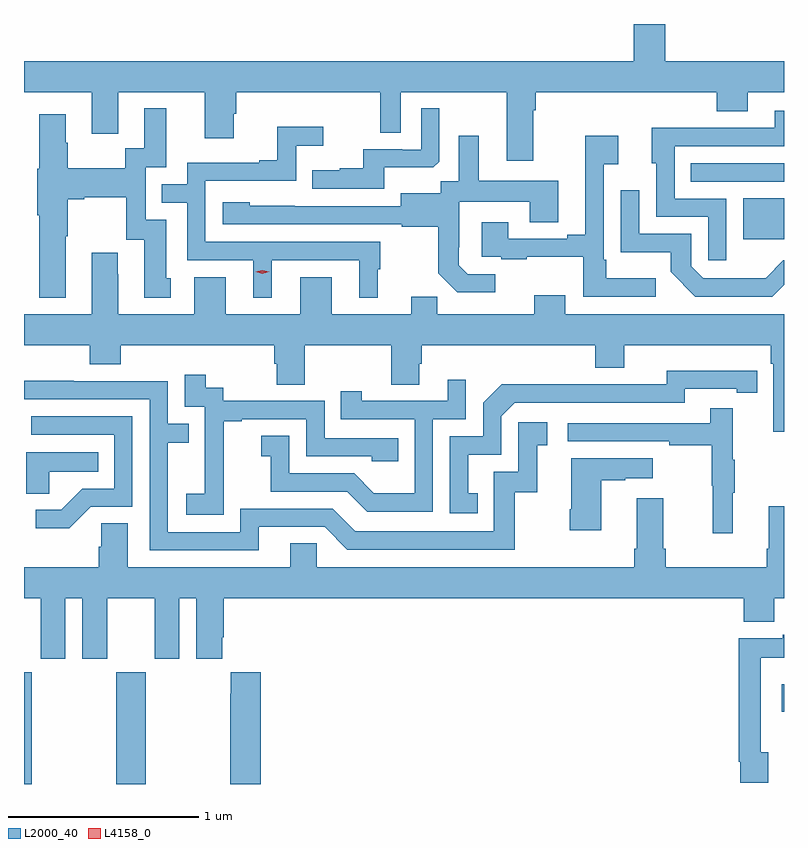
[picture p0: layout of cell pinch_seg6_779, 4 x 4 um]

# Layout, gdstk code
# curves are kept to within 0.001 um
import gdstk
lib = gdstk.Library(unit=1e-6, precision=1e-09)
def R(c, l, rs):  # rectangles x0, y0, x1, y1
    for r in rs: c.add(gdstk.rectangle(r[:2], r[2:], *l))
def P(c, l, *ps):  # polygons
    for p in ps: c.add(gdstk.Polygon(p, *l))
L2000_40 = (2000, 40)
L4158_0 = (4158, 0)

pinch_seg6_779 = lib.new_cell('pinch_seg6_779')
R(pinch_seg6_779, L2000_40, [(191.102,988.983,191.142,989.572), (191.587,988.983,191.742,989.572), (195.089,989.364,195.102,989.509), (194.888,991.85,195.102,992.065), (194.611,992.154,195.102,992.25)])
P(pinch_seg6_779, L2000_40, [(194.476,992.983),(194.312,992.983),(194.312,992.788),(191.102,992.788),(191.102,992.624),(191.459,992.624),(191.459,992.406),(191.599,992.406),(191.599,992.624),(192.053,992.624),(192.053,992.382),(192.205,992.382),(192.205,992.511),(192.218,992.511),(192.218,992.624),(192.978,992.624),(192.978,992.41),(193.086,992.41),(193.086,992.624),(193.643,992.624),(193.643,992.262),(193.783,992.262),(193.783,992.528),(193.796,992.528),(193.796,992.624),(194.747,992.624),(194.747,992.525),(194.911,992.525),(194.911,992.624),(195.102,992.624),(195.102,992.788),(194.476,992.788)],
  [(191.323,991.867),(191.331,991.867),(191.331,992.06),(191.419,992.06),(191.419,992.072),(191.639,992.072),(191.639,991.848),(191.735,991.848),(191.735,991.542),(191.875,991.542),(191.875,991.644),(191.851,991.644),(191.851,991.953),(191.742,991.953),(191.742,992.229),(191.851,992.229),(191.851,992.539),(191.735,992.539),(191.735,992.33),(191.634,992.33),(191.634,992.224),(191.331,992.224),(191.331,992.358),(191.323,992.358),(191.323,992.509),(191.183,992.509),(191.183,992.22),(191.171,992.22),(191.171,991.976),(191.183,991.976),(191.183,991.541),(191.323,991.541)],
  [(192.997,992.228),(193.255,992.228),(193.287,992.259),(193.287,992.539),(193.194,992.539),(193.194,992.322),(193.094,992.322),(193.094,992.325),(192.887,992.325),(192.887,992.224),(192.763,992.224),(192.763,992.212),(192.619,992.212),(192.619,992.115),(192.997,992.115)],
  [(194.799,992.064),(194.526,992.064),(194.526,992.34),(195.102,992.34),(195.102,992.527),(195.053,992.527),(195.053,992.436),(194.623,992.436),(194.623,992.438),(194.405,992.438),(194.405,992.25),(194.43,992.25),(194.43,991.968),(194.703,991.968),(194.703,991.74),(194.799,991.74)],
  [(192.406,991.74),(192.866,991.74),(192.866,991.541),(192.964,991.541),(192.964,991.692),(192.976,991.692),(192.976,991.836),(192.057,991.836),(192.057,992.157),(192.534,992.157),(192.534,992.342),(192.676,992.342),(192.676,992.441),(192.436,992.441),(192.436,992.266),(192.341,992.266),(192.341,992.253),(191.961,992.253),(191.961,992.139),(191.827,992.139),(191.827,992.043),(191.961,992.043),(191.961,991.74),(192.308,991.74),(192.308,991.541),(192.406,991.541)],
  [(193.582,991.665),(193.437,991.665),(193.39,991.712),(193.39,991.807),(193.392,991.807),(193.392,992.048),(193.763,992.048),(193.763,991.939),(193.915,991.939),(193.915,992.158),(193.495,992.158),(193.495,992.395),(193.391,992.395),(193.391,992.156),(193.296,992.156),(193.296,992.092),(193.085,992.092),(193.085,992.025),(192.291,992.026),(192.291,992.044),(192.147,992.044),(192.147,991.929),(193.089,991.929),(193.089,991.917),(193.281,991.917),(193.281,991.671),(193.381,991.571),(193.582,991.571)],
  [(194.428,991.645),(194.167,991.645),(194.167,991.741),(194.154,991.741),(194.154,992.246),(194.23,992.246),(194.23,992.395),(194.057,992.395),(194.057,991.873),(193.961,991.873),(193.961,991.854),(193.651,991.854),(193.651,991.939),(193.511,991.939),(193.511,991.758),(193.615,991.758),(193.615,991.746),(193.747,991.746),(193.747,991.757),(194.046,991.757),(194.046,991.548),(194.428,991.548)],
  [(195.102,991.611),(195.102,991.74),(195.099,991.74),(195.005,991.646),(194.9,991.646),(194.9,991.644),(194.676,991.644),(194.613,991.707),(194.613,991.878),(194.34,991.878),(194.34,992.107),(194.244,992.107),(194.244,991.781),(194.506,991.781),(194.506,991.679),(194.636,991.548),(195.039,991.548)],
  [(193.951,991.555),(193.787,991.555),(193.787,991.456),(193.277,991.456),(193.277,991.547),(193.139,991.547),(193.139,991.456),(192.721,991.456),(192.721,991.651),(192.557,991.651),(192.557,991.456),(192.163,991.456),(192.163,991.651),(191.999,991.651),(191.999,991.456),(191.599,991.456),(191.599,991.667),(191.596,991.667),(191.596,991.78),(191.459,991.78),(191.459,991.456),(191.102,991.456),(191.102,991.292),(191.447,991.292),(191.447,991.193),(191.612,991.193),(191.612,991.292),(192.419,991.292),(192.419,991.194),(192.431,991.194),(192.431,991.084),(192.579,991.084),(192.579,991.292),(193.036,991.292),(193.036,991.084),(193.183,991.084),(193.183,991.194),(193.196,991.194),(193.196,991.292),(194.108,991.292),(194.108,991.175),(194.26,991.175),(194.26,991.292),(195.032,991.292),(195.032,991.196),(195.045,991.196),(195.045,990.837),(195.102,990.837),(195.102,991.456),(193.951,991.456)],
  [(193.49,990.513),(193.441,990.513),(193.441,990.717),(193.614,990.717),(193.614,990.918),(193.686,990.99),(194.58,990.99),(194.58,991.062),(194.852,991.062),(194.852,991.042),(194.96,991.042),(194.96,991.158),(194.484,991.159),(194.484,991.086),(194.024,991.086),(194.024,991.088),(193.616,991.088),(193.518,990.99),(193.518,990.813),(193.344,990.813),(193.344,990.408),(193.49,990.408)],
  [(192.153,990.607),(192.152,990.607),(192.152,990.891),(192.247,990.891),(192.247,990.903),(192.588,990.903),(192.588,990.708),(192.933,990.708),(192.933,990.681),(193.073,990.681),(193.073,990.804),(192.684,990.804),(192.684,990.999),(192.15,990.999),(192.15,991.068),(192.058,991.068),(192.058,991.138),(191.949,991.138),(191.949,990.969),(192.054,990.969),(192.054,990.74),(192.053,990.74),(192.053,990.511),(191.955,990.511),(191.955,990.401),(192.153,990.401)],
  [(193.254,990.903),(193.428,990.903),(193.428,991.111),(193.331,991.111),(193.331,990.999),(192.88,990.999),(192.88,991.051),(192.769,991.051),(192.769,990.903),(193.158,990.903),(193.158,990.514),(192.944,990.514),(192.84,990.618),(192.498,990.618),(192.498,990.817),(192.351,990.817),(192.351,990.707),(192.4,990.707),(192.4,990.522),(192.803,990.522),(192.908,990.417),(193.254,990.417)],
  [(192.337,990.336),(192.684,990.336),(192.804,990.216),(193.684,990.216),(193.684,990.519),(193.802,990.519),(193.802,990.765),(193.855,990.765),(193.855,990.886),(193.704,990.886),(193.704,990.627),(193.575,990.627),(193.575,990.312),(192.846,990.312),(192.726,990.432),(192.24,990.432),(192.24,990.309),(191.859,990.309),(191.859,990.778),(191.969,990.778),(191.969,990.879),(191.859,990.879),(191.859,991.104),(191.363,991.104),(191.363,991.106),(191.102,991.106),(191.102,991.008),(191.763,991.008),(191.763,990.213),(192.337,990.213)],
  [(194.831,990.515),(194.842,990.515),(194.842,990.689),(194.831,990.689),(194.831,990.961),(194.713,990.961),(194.713,990.882),(193.965,990.882),(193.965,990.786),(194.497,990.786),(194.497,990.766),(194.721,990.766),(194.721,990.552),(194.728,990.552),(194.728,990.303),(194.831,990.303)],
  [(191.454,990.441),(191.673,990.441),(191.673,990.918),(191.139,990.918),(191.139,990.822),(191.577,990.822),(191.577,990.537),(191.408,990.537),(191.297,990.426),(191.163,990.426),(191.163,990.329),(191.341,990.329)],
  [(191.235,990.626),(191.492,990.626),(191.492,990.73),(191.114,990.73),(191.114,990.511),(191.235,990.511)],
  [(194.14,990.583),(194.267,990.583),(194.267,990.593),(194.41,990.593),(194.41,990.697),(193.982,990.697),(193.982,990.43),(193.975,990.43),(193.975,990.318),(194.14,990.318)],
  [(191.32,989.96),(191.408,989.96),(191.408,989.643),(191.539,989.643),(191.539,989.96),(191.789,989.96),(191.789,989.643),(191.92,989.643),(191.92,989.96),(192.008,989.96),(192.008,989.643),(192.145,989.643),(192.145,989.755),(192.152,989.755),(192.152,989.96),(194.891,989.96),(194.891,989.836),(195.051,989.836),(195.051,989.96),(195.102,989.96),(195.102,990.445),(195.023,990.445),(195.023,990.22),(195.011,990.22),(195.011,990.124),(194.48,990.124),(194.48,990.22),(194.467,990.22),(194.467,990.487),(194.327,990.487),(194.327,990.22),(194.315,990.22),(194.315,990.124),(192.642,990.124),(192.642,990.251),(192.503,990.251),(192.503,990.124),(191.647,990.124),(191.647,990.356),(191.508,990.356),(191.508,990.233),(191.495,990.233),(191.495,990.124),(191.102,990.124),(191.102,989.96),(191.189,989.96),(191.189,989.643),(191.32,989.643)],
  [(195.019,989.15),(194.979,989.15),(194.979,989.648),(195.102,989.648),(195.102,989.769),(195.096,989.769),(195.096,989.751),(194.863,989.751),(194.863,989.101),(194.871,989.101),(194.871,988.989),(195.019,988.989)],
  [(192.347,989.572),(192.191,989.572),(192.191,989.459),(192.187,989.459),(192.187,988.983),(192.347,988.983)])
P(pinch_seg6_779, L4158_0, [(192.357,991.668),(192.321,991.678),(192.321,991.678),(192.321,991.678),(192.357,991.688),(192.393,991.678),(192.393,991.678),(192.393,991.678)])

lib.write_gds('pinch_seg6_779.gds')
